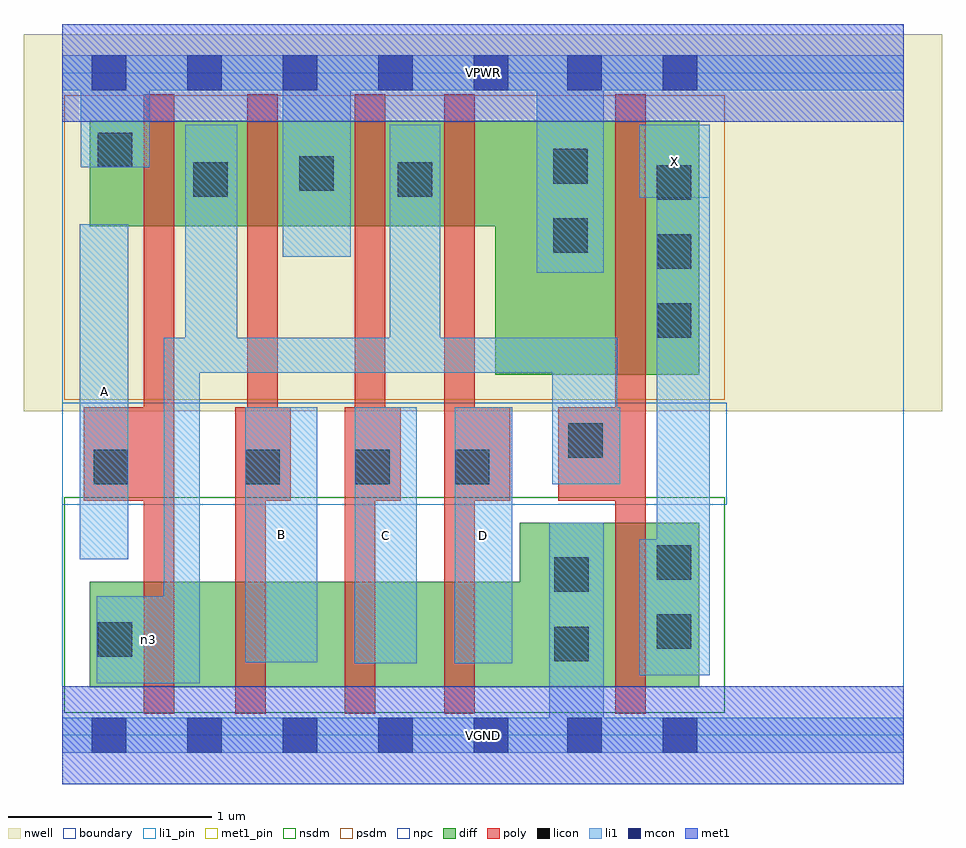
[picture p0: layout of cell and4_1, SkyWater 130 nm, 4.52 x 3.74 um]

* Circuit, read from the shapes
.subckt and4_1 A B C D VGND VPWR X n3
XM1 n1 A n3 VSUBS sky130_fd_pr__nfet_01v8 w=0.52 l=0.15
XM2 n2 B n1 VSUBS sky130_fd_pr__nfet_01v8 w=0.52 l=0.15
XM3 n4 C n2 VSUBS sky130_fd_pr__nfet_01v8 w=0.52 l=0.15
XM4 VGND D n4 VSUBS sky130_fd_pr__nfet_01v8 w=0.52 l=0.15
XM5 X n3 VGND VSUBS sky130_fd_pr__nfet_01v8 w=0.81 l=0.15
XM6 n3 A VPWR n5 sky130_fd_pr__pfet_01v8 w=0.52 l=0.15
XM7 VPWR B n3 n5 sky130_fd_pr__pfet_01v8 w=0.52 l=0.15
XM8 n3 C VPWR n5 sky130_fd_pr__pfet_01v8 w=0.52 l=0.15
XM9 VPWR D n3 n5 sky130_fd_pr__pfet_01v8 w=0.52 l=0.15
XM10 X n3 VPWR n5 sky130_fd_pr__pfet_01v8 w=1.25 l=0.15
.ends

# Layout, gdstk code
import gdstk
lib = gdstk.Library(unit=1e-6, precision=1e-09)
def R(c, l, rs):  # rectangles x0, y0, x1, y1
    for r in rs: c.add(gdstk.rectangle(r[:2], r[2:], *l))
def A(c, l, x, y, w, h, nx, ny, dx, dy):  # array of equal rectangles
    R(c, l, [(x+i*dx, y+j*dy, x+i*dx+w, y+j*dy+h) for i in range(nx) for j in range(ny)])
nwell = (64, 20)
diff = (65, 20)
poly = (66, 20)
licon = (66, 44)
li1_pin = (67, 16)
li1 = (67, 20)
mcon = (67, 44)
met1_pin = (68, 16)
met1 = (68, 20)
nsdm = (93, 44)
psdm = (94, 20)
npc = (95, 20)
boundary = (235, 4)

and4_1 = lib.new_cell('and4_1')
R(and4_1, nwell, [(-0.19,1.595,4.33,3.45), (0,1.595,4.14,3.45)])
R(and4_1, diff, [(0.135,0.235,3.135,0.755), (2.25,0.235,3.135,1.045), (2.13,1.775,3.135,3.025), (0.135,2.505,3.135,3.025)])
R(and4_1, poly, [(0.4,0.105,0.55,3.155), (0.85,0.105,1,1.615), (1.39,0.105,1.54,1.615), (1.88,0.105,2.03,3.155), (2.72,0.105,2.87,3.155), (0.105,1.155,0.55,1.615), (0.85,1.155,1.125,1.615), (0.91,1.155,1.06,3.155), (1.39,1.155,1.665,1.615), (1.44,1.155,1.59,3.155), (1.88,1.155,2.205,1.615), (2.44,1.155,2.87,1.615)])
A(and4_1, licon, 2.925, 1.955, 0.17, 0.17, 1, 3, 0, 0.34)
R(and4_1, licon, [(2.42,0.365,2.59,0.535), (0.175,0.385,0.345,0.555), (2.925,0.425,3.095,0.595), (2.42,0.705,2.59,0.875), (2.925,0.765,3.095,0.935), (0.155,1.235,0.325,1.405), (0.9,1.235,1.07,1.405), (1.44,1.235,1.61,1.405), (1.93,1.235,2.1,1.405), (2.49,1.365,2.66,1.535), (2.415,2.375,2.585,2.545), (0.645,2.65,0.815,2.82), (1.65,2.65,1.82,2.82), (1.165,2.68,1.335,2.85), (2.415,2.715,2.585,2.885), (0.175,2.795,0.345,2.965)])
R(and4_1, li1_pin, [(1.44,0.355,1.745,1.615), (1.93,0.355,2.215,1.615), (0.9,0.36,1.255,1.615), (0.085,0.865,0.325,2.515), (2.84,2.645,3.185,3.005)])
R(and4_1, li1, [(0,-0.085,4.14,0.085), (2.395,-0.085,2.665,1.045), (0.17,0.255,0.675,0.685), (0.5,0.255,0.675,1.955), (2.84,0.295,3.185,0.965), (2.925,0.295,3.185,3.005), (1.44,0.355,1.745,1.615), (1.93,0.355,2.215,1.615), (0.9,0.36,1.255,1.615), (0.085,0.865,0.325,2.515), (2.41,1.235,2.73,1.955), (2.41,1.235,2.745,1.615), (0.5,1.785,2.73,1.955), (0.605,1.785,0.86,3.005), (1.61,1.785,1.86,3.005), (2.335,2.275,2.665,3.345), (1.085,2.355,1.42,3.345), (2.84,2.645,3.185,3.005), (0.09,2.795,0.43,3.345), (0,3.175,4.14,3.345)])
A(and4_1, mcon, 0.145, -0.085, 0.17, 0.17, 5, 2, 0.47, 3.26)
R(and4_1, mcon, [(2.485,-0.085,2.655,0.085), (2.955,-0.085,3.125,0.085), (2.485,3.175,2.655,3.345), (2.955,3.175,3.125,3.345)])
R(and4_1, met1_pin, [(0,-0.24,4.14,0.24), (0,3.02,4.14,3.5)])
R(and4_1, met1, [(0,-0.24,4.14,0.24), (0,3.02,4.14,3.5)])
R(and4_1, nsdm, [(0.01,0.11,3.26,1.17)])
R(and4_1, psdm, [(0.01,1.65,3.26,3.15)])
R(and4_1, npc, [(0,1.135,3.27,1.635)])
R(and4_1, boundary, [(0,0,4.14,3.26)])
and4_1.add(gdstk.Label('A', (0.205,1.69), layer=67, texttype=5))
and4_1.add(gdstk.Label('B', (1.077,0.987), layer=67, texttype=5))
and4_1.add(gdstk.Label('C', (1.592,0.985), layer=67, texttype=5))
and4_1.add(gdstk.Label('D', (2.072,0.985), layer=67, texttype=5))
and4_1.add(gdstk.Label('X', (3.012,2.825), layer=67, texttype=5))
and4_1.add(gdstk.Label('n3', (0.422,0.47), layer=67, texttype=5))
and4_1.add(gdstk.Label('VPWR', (2.07,3.26), layer=68, texttype=5))
and4_1.add(gdstk.Label('VGND', (2.07,0), layer=68, texttype=5))
and4_1.add(gdstk.Label('A', (0.205,1.69), layer=67, texttype=16))
and4_1.add(gdstk.Label('B', (1.077,0.987), layer=67, texttype=16))
and4_1.add(gdstk.Label('C', (1.592,0.985), layer=67, texttype=16))
and4_1.add(gdstk.Label('D', (2.072,0.985), layer=67, texttype=16))
and4_1.add(gdstk.Label('X', (3.012,2.825), layer=67, texttype=16))
and4_1.add(gdstk.Label('VPWR', (2.07,3.26), layer=68, texttype=16))
and4_1.add(gdstk.Label('VGND', (2.07,0), layer=68, texttype=16))

lib.write_gds('and4_1.gds')
